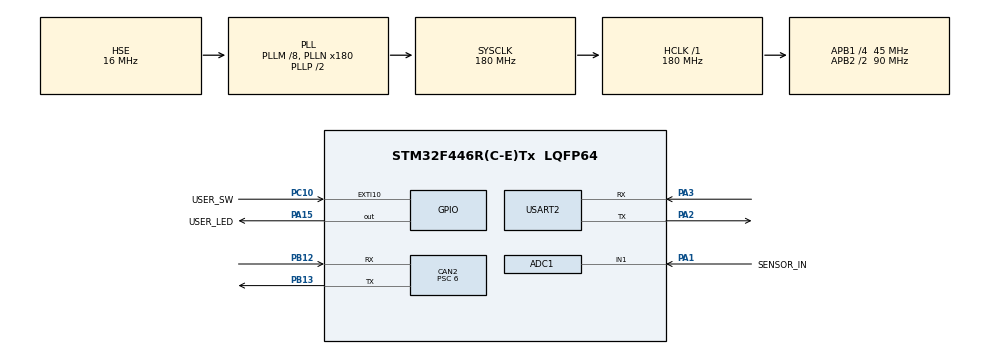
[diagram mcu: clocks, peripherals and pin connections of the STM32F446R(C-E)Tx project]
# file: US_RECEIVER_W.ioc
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ADC1.Channel-0\#ChannelRegularConversion=ADC_CHANNEL_1
ADC1.ClockPrescaler=ADC_CLOCK_SYNC_PCLK_DIV6
ADC1.ContinuousConvMode=ENABLE
ADC1.DMAContinuousRequests=ENABLE
ADC1.NbrOfConversionFlag=1
ADC1.Rank-0\#ChannelRegularConversion=1
ADC1.SamplingTime-0\#ChannelRegularConversion=ADC_SAMPLETIME_3CYCLES
ADC1.master=1
CAN2.BS1=CAN_BS1_9TQ
CAN2.BS2=CAN_BS2_5TQ
CAN2.CalculateTimeBit=1999
CAN2.CalculateTimeQuantum=133.33333333333331
CAN2.Prescaler=6
CAN2.SJW=CAN_SJW_3TQ
Dma.ADC1.0.Direction=DMA_PERIPH_TO_MEMORY
Dma.ADC1.0.FIFOMode=DMA_FIFOMODE_ENABLE
Dma.ADC1.0.FIFOThreshold=DMA_FIFO_THRESHOLD_FULL
Dma.ADC1.0.Instance=DMA2_Stream0
Dma.ADC1.0.MemBurst=DMA_MBURST_SINGLE
Dma.ADC1.0.MemDataAlignment=DMA_MDATAALIGN_HALFWORD
Dma.ADC1.0.MemInc=DMA_MINC_ENABLE
Dma.ADC1.0.Mode=DMA_NORMAL
Dma.ADC1.0.PeriphBurst=DMA_PBURST_SINGLE
Dma.ADC1.0.PeriphDataAlignment=DMA_PDATAALIGN_HALFWORD
Dma.ADC1.0.PeriphInc=DMA_PINC_DISABLE
Dma.ADC1.0.Priority=DMA_PRIORITY_HIGH
Dma.Request0=ADC1
Mcu.Family=STM32F4
Mcu.Name=STM32F446R(C-E)Tx
Mcu.Package=LQFP64
NVIC.CAN2_RX0_IRQn=true\:0\:0\:false\:false\:true
NVIC.DMA2_Stream0_IRQn=true\:0\:0\:false\:false\:true
NVIC.EXTI15_10_IRQn=true\:0\:1\:false\:false\:true
NVIC.PriorityGroup=NVIC_PRIORITYGROUP_0
NVIC.USART2_IRQn=true\:0\:1\:false\:false\:true
PA1.GPIO_Label=SENSOR_IN
PA1.Signal=ADCx_IN1
PA13.Mode=Serial_Wire
PA13.Signal=SYS_JTMS-SWDIO
PA14.Mode=Serial_Wire
PA14.Signal=SYS_JTCK-SWCLK
PA15.GPIO_Label=USER_LED
PA15.GPIO_Speed=GPIO_SPEED_FREQ_VERY_HIGH
PA15.Signal=GPIO_Output
PA2.Mode=Asynchronous
PA2.Signal=USART2_TX
PA3.Mode=Asynchronous
PA3.Signal=USART2_RX
PB12.Mode=Slave
PB12.Signal=CAN2_RX
PB13.Mode=Slave
PB13.Signal=CAN2_TX
PC10.GPIO_Label=USER_SW
PC10.GPIO_ModeDefaultEXTI=GPIO_MODE_IT_FALLING
PC10.GPIO_PuPd=GPIO_NOPULL
PC10.Signal=GPXTI10
PH0-OSC_IN.Mode=HSE-External-Oscillator
PH0-OSC_IN.Signal=RCC_OSC_IN
PH1-OSC_OUT.Mode=HSE-External-Oscillator
PH1-OSC_OUT.Signal=RCC_OSC_OUT
ProjectManager.HeapSize=0x200
ProjectManager.StackSize=0x400
ProjectManager.TargetToolchain=MDK-ARM V5
RCC.AHBFreq_Value=180000000
RCC.APB1CLKDivider=RCC_HCLK_DIV4
RCC.APB1Freq_Value=45000000
RCC.APB1TimFreq_Value=90000000
RCC.APB2CLKDivider=RCC_HCLK_DIV2
RCC.APB2Freq_Value=90000000
RCC.APB2TimFreq_Value=180000000
RCC.CortexFreq_Value=180000000
RCC.HCLKFreq_Value=180000000
RCC.HSE_VALUE=16000000
RCC.PLLM=8
RCC.PLLN=180
RCC.PLLSourceVirtual=RCC_PLLSOURCE_HSE
RCC.SYSCLKFreq_VALUE=180000000
RCC.SYSCLKSource=RCC_SYSCLKSOURCE_PLLCLK
RCC.USBFreq_Value=180000000
RCC.VCOOutputFreq_Value=360000000
SH.ADCx_IN1.0=ADC1_IN1,IN1
board=US_RECEIVER_W

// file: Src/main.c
/**
  ******************************************************************************
  * File Name          : main.c
  * Description        : Main program body
  ******************************************************************************
  *
  * COPYRIGHT(c) 2018 STMicroelectronics
  *
  * Redistribution and use in source and binary forms, with or without modification,
  * are permitted provided that the following conditions are met:
  *   1. Redistributions of source code must retain the above copyright notice,
  *      this list of conditions and the following disclaimer.
  *   2. Redistributions in binary form must reproduce the above copyright notice,
  *      this list of conditions and the following disclaimer in the documentation
  *      and/or other materials provided with the distribution.
  *   3. Neither the name of STMicroelectronics nor the names of its contributors
  *      may be used to endorse or promote products derived from this software
  *      without specific prior written permission.
  *
  * THIS SOFTWARE IS PROVIDED BY THE COPYRIGHT HOLDERS AND CONTRIBUTORS "AS IS"
  * AND ANY EXPRESS OR IMPLIED WARRANTIES, INCLUDING, BUT NOT LIMITED TO, THE
  * IMPLIED WARRANTIES OF MERCHANTABILITY AND FITNESS FOR A PARTICULAR PURPOSE ARE
  * DISCLAIMED. IN NO EVENT SHALL THE COPYRIGHT HOLDER OR CONTRIBUTORS BE LIABLE
  * FOR ANY DIRECT, INDIRECT, INCIDENTAL, SPECIAL, EXEMPLARY, OR CONSEQUENTIAL
  * DAMAGES (INCLUDING, BUT NOT LIMITED TO, PROCUREMENT OF SUBSTITUTE GOODS OR
  * SERVICES; LOSS OF USE, DATA, OR PROFITS; OR BUSINESS INTERRUPTION) HOWEVER
  * CAUSED AND ON ANY THEORY OF LIABILITY, WHETHER IN CONTRACT, STRICT LIABILITY,
  * OR TORT (INCLUDING NEGLIGENCE OR OTHERWISE) ARISING IN ANY WAY OUT OF THE USE
  * OF THIS SOFTWARE, EVEN IF ADVISED OF THE POSSIBILITY OF SUCH DAMAGE.
  *
  ******************************************************************************
  */
#include "main.h"
#include "stm32f4xx_hal.h"

/* USER CODE BEGIN Includes */
#define TEST_CASE           "F446:23/07/18\r\n"
#define CAN_ADDR_OFFSET     100 // 100 node ID: 100->199
// Trigger:
// OUT: LD6-BLUE    PD15
// IN:  BUTTON      PA0

/* Notes_09/12/2016:
- START_TRIGGER: GPIO_MODE_IT_RISING_FALLING
- DMA: NORMAL
- Rising/Falling edge of output trigger  _____--__________--_____

* Notes_17/12/2016:
- calc phase_shift use atan2 --> failed: phase offset @each cycle
- CAN transmit error (^.^)

* Notes_28/12/2016:
- trigger: 3000000

* Note_02/01/2017:
- Smart Threshold V2
- Trigger in CAN BUS
- Filter for Main Receiver

* Note_22/07/2018:
- Update full wave process
- Extend range to 10m
- Clean up code
*/

// arm cmsis library includes
#define ARM_MATH_CM4
#include "arm_math.h"
#include "stdbool.h"

/* USER CODE END Includes */

ADC_HandleTypeDef hadc1;
DMA_HandleTypeDef hdma_adc1;

CAN_HandleTypeDef hcan2;

UART_HandleTypeDef huart2;

/* USER CODE BEGIN PV */
/* Private variables ---------------------------------------------------------*/
#define PROCESS_WINDOW    25      // 1MSPS
#define PROCESS_CYCLE     950    //
#define BUFFER_SIZE       23750   // 32ms, 11m @343m/s

uint16_t ADC_buf[BUFFER_SIZE];
uint16_t i,j,k;
uint16_t trig_cycle, init_cycle;
uint16_t max_cycle;

uint64_t THRESHOLD[3];

char print_en;
bool done_logging;

float32_t res_sin[PROCESS_CYCLE];
float32_t res_cos[PROCESS_CYCLE];
float32_t calc_res[PROCESS_CYCLE];
// float32_t phase_res;

float64_t max_val;

const float32_t sin_ref[PROCESS_WINDOW] = {0,  0.2487, 0.4818, 0.6845, 0.8443, 0.9511, 0.9980, 0.9823, 0.9048, 0.7705, 0.5878, 0.3681, 0.1253, -0.1253, -0.3681, -0.5878, -0.7705, -0.9048, -0.9823, -0.9980, -0.9511, -0.8443, -0.6845, -0.4818, -0.2487};
const float32_t cos_ref[PROCESS_WINDOW] = {1,  0.9686, 0.8763, 0.7290, 0.5358, 0.3090, 0.06280, -0.1874, -0.4258, -0.6374, -0.8090, -0.9298, -0.9921, -0.9921, -0.9298, -0.8090, -0.6374, -0.4258, -0.1874, 0.06280, 0.3090, 0.5358, 0.7290, 0.8763, 0.9686};

CanTxMsgTypeDef TxM;
CanRxMsgTypeDef RxM;
CAN_FilterConfTypeDef sFilterConfig;
uint8_t ui8_my_addr;

enum system_mode
{
  TRIGGER_MODE,
  DEBUG_MODE,
} system_mode;

/* USER CODE END PV */

void SystemClock_Config(void);
void Error_Handler(void);
static void MX_GPIO_Init(void);
static void MX_DMA_Init(void);
static void MX_ADC1_Init(void);
static void MX_CAN2_Init(void);
static void MX_USART2_UART_Init(void);

/* USER CODE BEGIN PFP */
/* Private function prototypes -----------------------------------------------*/
#ifdef __GNUC__
  /* With GCC/RAISONANCE, small printf (option LD Linker->Libraries->Small printf
     set to 'Yes') calls __io_putchar() */
  #define PUTCHAR_PROTOTYPE int __io_putchar(int ch)
#else
  #define PUTCHAR_PROTOTYPE int fputc(int ch, FILE *f)
#endif /* __GNUC__ */

/**
  * @brief  Retargets the C library printf function to the USART.
  * @param  None
  * @retval None
  */
PUTCHAR_PROTOTYPE
{
  /* Place your implementation of fputc here */
  /* e.g. write a character to the USART */
  HAL_UART_Transmit(&huart2, (uint8_t *)&ch, 1, 100);
  return ch;
}

void CAN_Set_Node_Addr(uint8_t addr);

/* USER CODE END PFP */

int main(void)
{

  /* USER CODE BEGIN 1 */
	system_mode = TRIGGER_MODE;
  // system_mode = DEBUG_MODE;
	print_en = 0;
  done_logging = 0;
	THRESHOLD[0] = 10000*1;			// Energy @ starting point
	THRESHOLD[1] = 10000*20;			// Maximum max value --> stop update max --> fix bug when too close
  // THRESHOLD[2] = 10000*10;       // Handle out-of-range
  // 1xx: NODE
  // 2x: MAIN RECEIVER
  CAN_Set_Node_Addr(2);

  /* USER CODE END 1 */

  /* MCU Configuration----------------------------------------------------------*/

  /* Reset of all peripherals, Initializes the Flash interface and the Systick. */
  HAL_Init();

  /* Configure the system clock */
  SystemClock_Config();

  /* Initialize all configured peripherals */
  MX_GPIO_Init();
  MX_DMA_Init();
  MX_ADC1_Init();
  MX_CAN2_Init();
  MX_USART2_UART_Init();

  /* USER CODE BEGIN 2 */
  printf("%%%% #\r\n");
	// printf(TEST_CASE);
	// printf("\r\nTRIGGER_MODE\r\n");

  /* USER CODE END 2 */

  /* Infinite loop */
  while (1)
  {

  /* USER CODE BEGIN 3 */
		//================== WAVE PROCESSING ==================//
		// Start process when done_logging
		if(done_logging == 1){

      // Calculate Wave Energy
      for(j = 0; j < PROCESS_CYCLE; j++){
        // Clear data
        res_sin[j] = 0;
        res_cos[j] = 0;

        // Process 1 cycle
        for(i = 0; i<PROCESS_WINDOW; i++){
          res_sin[j] += sin_ref[i] * ADC_buf[PROCESS_WINDOW*j+i];
          res_cos[j] += cos_ref[i] * ADC_buf[PROCESS_WINDOW*j+i];
        }
        calc_res[j] = res_sin[j]*res_sin[j] + res_cos[j]*res_cos[j];

        // Get max value & max_cycle
        // if((calc_res[j] > max_val) && (max_val <= THRESHOLD[1])){      // Get max value
        //     max_cycle = j;
        //     max_val = calc_res[max_cycle];
        // }
        if(calc_res[j]  > THRESHOLD[1]){
          max_cycle = j;
          max_val = calc_res[max_cycle];
          break;  // stop asap
        }
      }

      // // Handle out-of-range
      // if(max_val  < THRESHOLD[2]){
      //   max_cycle = 999;
      //   init_cycle = 999;
      // }
      // else{

      // Trace back initial wave cycle
      for(k = 0; k < 20; k++){
        if(((calc_res[max_cycle-k] - calc_res[max_cycle-k-1]) < THRESHOLD[0])){
          init_cycle = max_cycle-k;
          break;    // 1st time pass threshold
        }
      }
      // }

      // Reset done_logging flag
      done_logging = 0;

      // Turn of flag to print result
      print_en = 1;

      // SEND DISTANCE TO CAN BUS
      hcan2.pTxMsg->Data[0] = ui8_my_addr;            // TX_ID
      hcan2.pTxMsg->Data[1] = init_cycle>>8;          // DATA 1
      hcan2.pTxMsg->Data[2] = init_cycle&~(0xFF00);   // DATA 2
      hcan2.pTxMsg->Data[3] = 'D';                    // COMMAND
      hcan2.pTxMsg->Data[4] = 20;                     // RX_ID
      if(HAL_CAN_Transmit(&hcan2,5) != HAL_OK){
        printf("Send Fail\r\n");
      }
		}

		//================== EXPORT RESULT ==================//
		switch (system_mode){
			case TRIGGER_MODE:
				if(print_en == 1){
					printf("%.0f %.0f\r\n",(float)init_cycle,(float)max_cycle-init_cycle);
          // HAL_GPIO_WritePin(USER_LED_GPIO_Port, USER_LED_Pin, GPIO_PIN_RESET);
					// printf("%d %d\r\n",ui8_my_addr, init_cycle);
					print_en = 0;
				}
				break;

			case  DEBUG_MODE:
				if(print_en == 1){
					print_en = 2;
					printf("X=[\r\n");
					for(k=0; k<PROCESS_CYCLE; k++){
						printf("%.0f ",calc_res[k]);
						//HAL_Delay(1);
					}
          printf("];\r\n\n");

          printf("Y=[\r\n");
					for(k=0; k<BUFFER_SIZE; k++){
						printf("%i ",ADC_buf[k]);
						//HAL_Delay(1);
					}
					printf("];\r\n\n");
				}
				break;
		}
  }

  /* USER CODE END 3 */

}

/** System Clock Configuration
*/
void SystemClock_Config(void)
{

  RCC_OscInitTypeDef RCC_OscInitStruct;
  RCC_ClkInitTypeDef RCC_ClkInitStruct;

    /**Configure the main internal regulator output voltage
    */
  __HAL_RCC_PWR_CLK_ENABLE();

  __HAL_PWR_VOLTAGESCALING_CONFIG(PWR_REGULATOR_VOLTAGE_SCALE1);

    /**Initializes the CPU, AHB and APB busses clocks
    */
  RCC_OscInitStruct.OscillatorType = RCC_OSCILLATORTYPE_HSE;
  RCC_OscInitStruct.HSEState = RCC_HSE_ON;
  RCC_OscInitStruct.PLL.PLLState = RCC_PLL_ON;
  RCC_OscInitStruct.PLL.PLLSource = RCC_PLLSOURCE_HSE;
  RCC_OscInitStruct.PLL.PLLM = 8;
  RCC_OscInitStruct.PLL.PLLN = 180;
  RCC_OscInitStruct.PLL.PLLP = RCC_PLLP_DIV2;
  RCC_OscInitStruct.PLL.PLLQ = 2;
  RCC_OscInitStruct.PLL.PLLR = 2;
  if (HAL_RCC_OscConfig(&RCC_OscInitStruct) != HAL_OK)
  {
    Error_Handler();
  }

    /**Activate the Over-Drive mode
    */
  if (HAL_PWREx_EnableOverDrive() != HAL_OK)
  {
    Error_Handler();
  }

    /**Initializes the CPU, AHB and APB busses clocks
    */
  RCC_ClkInitStruct.ClockType = RCC_CLOCKTYPE_HCLK|RCC_CLOCKTYPE_SYSCLK
                              |RCC_CLOCKTYPE_PCLK1|RCC_CLOCKTYPE_PCLK2;
  RCC_ClkInitStruct.SYSCLKSource = RCC_SYSCLKSOURCE_PLLCLK;
  RCC_ClkInitStruct.AHBCLKDivider = RCC_SYSCLK_DIV1;
  RCC_ClkInitStruct.APB1CLKDivider = RCC_HCLK_DIV4;
  RCC_ClkInitStruct.APB2CLKDivider = RCC_HCLK_DIV2;

  if (HAL_RCC_ClockConfig(&RCC_ClkInitStruct, FLASH_LATENCY_5) != HAL_OK)
  {
    Error_Handler();
  }

    /**Configure the Systick interrupt time
    */
  HAL_SYSTICK_Config(HAL_RCC_GetHCLKFreq()/1000);

    /**Configure the Systick
    */
  HAL_SYSTICK_CLKSourceConfig(SYSTICK_CLKSOURCE_HCLK);

  /* SysTick_IRQn interrupt configuration */
  HAL_NVIC_SetPriority(SysTick_IRQn, 0, 0);
}

/* ADC1 init function */
static void MX_ADC1_Init(void)
{

  ADC_ChannelConfTypeDef sConfig;

    /**Configure the global features of the ADC (Clock, Resolution, Data Alignment and number of conversion)
    */
  hadc1.Instance = ADC1;
  hadc1.Init.ClockPrescaler = ADC_CLOCK_SYNC_PCLK_DIV6;
  hadc1.Init.Resolution = ADC_RESOLUTION_12B;
  hadc1.Init.ScanConvMode = DISABLE;
  hadc1.Init.ContinuousConvMode = ENABLE;
  hadc1.Init.DiscontinuousConvMode = DISABLE;
  hadc1.Init.ExternalTrigConvEdge = ADC_EXTERNALTRIGCONVEDGE_NONE;
  hadc1.Init.ExternalTrigConv = ADC_SOFTWARE_START;
  hadc1.Init.DataAlign = ADC_DATAALIGN_RIGHT;
  hadc1.Init.NbrOfConversion = 1;
  hadc1.Init.DMAContinuousRequests = ENABLE;
  hadc1.Init.EOCSelection = ADC_EOC_SINGLE_CONV;
  if (HAL_ADC_Init(&hadc1) != HAL_OK)
  {
    Error_Handler();
  }

    /**Configure for the selected ADC regular channel its corresponding rank in the sequencer and its sample time.
    */
  sConfig.Channel = ADC_CHANNEL_1;
  sConfig.Rank = 1;
  sConfig.SamplingTime = ADC_SAMPLETIME_3CYCLES;
  if (HAL_ADC_ConfigChannel(&hadc1, &sConfig) != HAL_OK)
  {
    Error_Handler();
  }

}

/* CAN2 init function */
static void MX_CAN2_Init(void)
{

  hcan2.Instance = CAN2;
  hcan2.Init.Prescaler = 6;
  hcan2.Init.Mode = CAN_MODE_NORMAL;
  hcan2.Init.SJW = CAN_SJW_3TQ;
  hcan2.Init.BS1 = CAN_BS1_9TQ;
  hcan2.Init.BS2 = CAN_BS2_5TQ;
  hcan2.Init.TTCM = DISABLE;
  hcan2.Init.ABOM = DISABLE;
  hcan2.Init.AWUM = DISABLE;
  hcan2.Init.NART = DISABLE;
  hcan2.Init.RFLM = DISABLE;
  hcan2.Init.TXFP = DISABLE;
  if (HAL_CAN_Init(&hcan2) != HAL_OK)
  {
    Error_Handler();
  }
  // Config CAN Filter for CAN2
  hcan2.pTxMsg = &TxM;
  hcan2.pRxMsg = &RxM;

  sFilterConfig.FilterNumber = 0;
  sFilterConfig.FilterMode = CAN_FILTERMODE_IDMASK;
  sFilterConfig.FilterScale = CAN_FILTERSCALE_16BIT;
  sFilterConfig.FilterIdHigh = 20;          // Filter ID (11bit MSBs)
  sFilterConfig.FilterIdLow = 0;
  sFilterConfig.FilterMaskIdHigh = 0x0700;  //0000 0111 0000 0000
  sFilterConfig.FilterMaskIdLow = 0x0700;
  sFilterConfig.FilterFIFOAssignment = 0;
  sFilterConfig.FilterActivation = ENABLE;
  sFilterConfig.BankNumber = 0;

  HAL_CAN_ConfigFilter(&hcan2, &sFilterConfig);

  hcan2.pTxMsg->StdId = ui8_my_addr;      // TX ID
  hcan2.pTxMsg->ExtId = 0x0;
  hcan2.pTxMsg->RTR = CAN_RTR_DATA;
  hcan2.pTxMsg->IDE = CAN_ID_STD;
  hcan2.pTxMsg->DLC = 5;      // 1 TX_ID, 2_DATA, 1_COMMAND/CONFIG, 1_RX_ID

  // Start the Reception process and enable reception interrupt
  if(HAL_CAN_Receive_IT(&hcan2, CAN_FIFO0) !=HAL_OK){
    printf("rev Init fail\r\n");
  }
}

void CAN_Set_Node_Addr(uint8_t addr)
{
  ui8_my_addr = addr + CAN_ADDR_OFFSET;
}

/* USART2 init function */
static void MX_USART2_UART_Init(void)
{

  huart2.Instance = USART2;
  huart2.Init.BaudRate = 115200;
  huart2.Init.WordLength = UART_WORDLENGTH_8B;
  huart2.Init.StopBits = UART_STOPBITS_1;
  huart2.Init.Parity = UART_PARITY_NONE;
  huart2.Init.Mode = UART_MODE_TX_RX;
  huart2.Init.HwFlowCtl = UART_HWCONTROL_NONE;
  huart2.Init.OverSampling = UART_OVERSAMPLING_16;
  if (HAL_UART_Init(&huart2) != HAL_OK)
  {
    Error_Handler();
  }

}

static void MX_DMA_Init(void)
{
  /* DMA controller clock enable */
  __HAL_RCC_DMA2_CLK_ENABLE();

  /* DMA interrupt init */
  /* DMA2_Stream0_IRQn interrupt configuration */
  HAL_NVIC_SetPriority(DMA2_Stream0_IRQn, 0, 0);
  HAL_NVIC_EnableIRQ(DMA2_Stream0_IRQn);

}

/** Configure pins as
        * Analog
        * Input
        * Output
        * EVENT_OUT
        * EXTI
*/
static void MX_GPIO_Init(void)
{

  GPIO_InitTypeDef GPIO_InitStruct;

  /* GPIO Ports Clock Enable */
  __HAL_RCC_GPIOH_CLK_ENABLE();
  __HAL_RCC_GPIOA_CLK_ENABLE();
  __HAL_RCC_GPIOB_CLK_ENABLE();
  __HAL_RCC_GPIOC_CLK_ENABLE();

  /*Configure GPIO pin Output Level */
  HAL_GPIO_WritePin(USER_LED_GPIO_Port, USER_LED_Pin, GPIO_PIN_RESET);

  /*Configure GPIO pin : USER_LED_Pin */
  GPIO_InitStruct.Pin = USER_LED_Pin;
  GPIO_InitStruct.Mode = GPIO_MODE_OUTPUT_PP;
  GPIO_InitStruct.Pull = GPIO_NOPULL;
  GPIO_InitStruct.Speed = GPIO_SPEED_FREQ_VERY_HIGH;
  HAL_GPIO_Init(USER_LED_GPIO_Port, &GPIO_InitStruct);

  /*Configure GPIO pin : USER_SW_Pin */
  GPIO_InitStruct.Pin = USER_SW_Pin;
  GPIO_InitStruct.Mode = GPIO_MODE_IT_FALLING;
  GPIO_InitStruct.Pull = GPIO_NOPULL;
  HAL_GPIO_Init(USER_SW_GPIO_Port, &GPIO_InitStruct);

  /* EXTI interrupt init*/
  HAL_NVIC_SetPriority(EXTI15_10_IRQn, 0, 1);
  HAL_NVIC_EnableIRQ(EXTI15_10_IRQn);

}

void Error_Handler(void)
{
  while(1)
  {
  }
}

/************************ (C) COPYRIGHT STMicroelectronics *****END OF FILE****/
